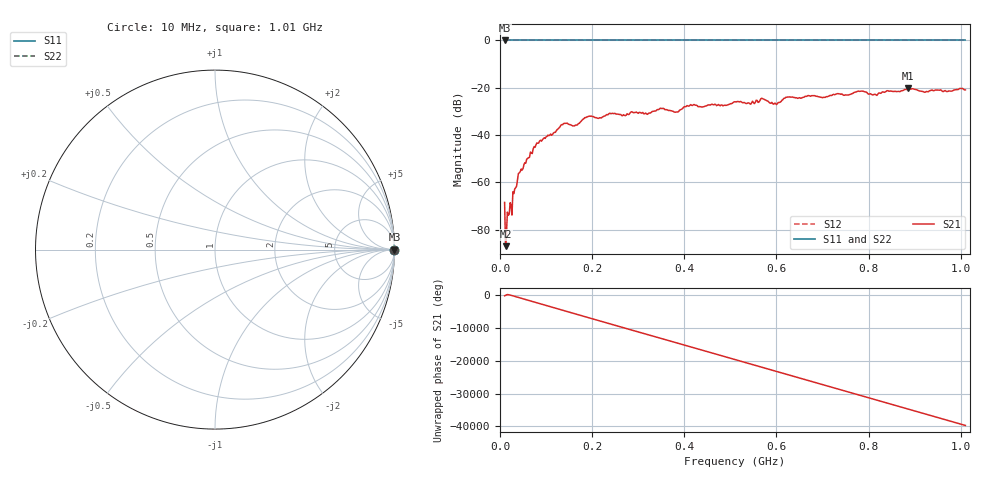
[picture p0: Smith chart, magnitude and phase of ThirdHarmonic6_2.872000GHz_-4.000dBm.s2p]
! 8/17/2025 7:51:04 AM
! C:\ANRITSUVNA\TEMP\TEMP.S2P
! CHANNEL.1
! TR.MEASUREMENT
! RAW.DATA
! RF.CORRECTION.OFF
! AVERAGING.OFF
! IF.BANDWIDTH: 5KHZ
! SWEEPTYPE:  FREQ.SWEEP(Linear)
! Reference Plane Port Info
! PORT:  PORT1  PORT2
! DISTANCE:  0  m  0  m
! TIME:  0  s  0  s
! PHASE.OFFSET:  0  deg.  0  deg.
! LOSS:  0  dB  0  dB
! REF.LOSS:  0  dB  0  dB
! REF.FREQ:  0  Hz  0  Hz
! Power Info
! POWER:  -20  dBm  -20  dBm
! EFF.POWER:  -20  dBm  -20  dBm
! SOURCE.ATTEN:  0  dB  0  dB
! TEST.ATTEN:  0  dB  0  dB
# GHZ S RI R 50.0
! FREQ.GHZ  S11RE  S11IM  S21RE  S21IM  S12RE  S12IM  S22RE  S22IM
!; PortSelection: Port_12
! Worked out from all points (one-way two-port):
!   501 points, 10 MHz to 1.01 GHz, reference 50 ohm
!   highest |S21| = -20.23 dB at 886 MHz (marker M1); lowest = -87.0 dB at 12 MHz (marker M2)
!   lowest |S11| = 0.0 dB at 10 MHz (marker M3)
!   |S11| at or under -10 dB: nowhere
!   |S22| runs from 0.0 to 0.0 dB; largest |S21 - S12| = 1.1
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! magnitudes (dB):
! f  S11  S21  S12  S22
! 10 MHz  0.0  -68.5  0.0  0.0
! 12 MHz  0.0  -87.0  0.0  0.0
! 16 MHz  0.0  -72.6  0.0  0.0
! 20 MHz  0.0  -73.5  0.0  0.0
! 22 MHz  0.0  -68.6  0.0  0.0
! 42 MHz  0.0  -56.0  0.0  0.0
! 76 MHz  0.0  -45.2  0.0  0.0
! 136 MHz  0.0  -35.6  0.0  0.0
! 162 MHz  0.0  -36.1  0.0  0.0
! 178 MHz  0.0  -33.7  0.0  0.0
! 344 MHz  0.0  -29.3  0.0  0.0
! 382 MHz  0.0  -30.3  0.0  0.0
! 410 MHz  0.0  -27.8  0.0  0.0
! 510 MHz  0.0  -25.9  0.0  0.0
! 542 MHz  0.0  -26.7  0.0  0.0
! 570 MHz  0.0  -24.6  0.0  0.0
! 598 MHz  0.0  -26.6  0.0  0.0
! 624 MHz  0.0  -23.9  0.0  0.0
! 678 MHz  0.0  -23.4  0.0  0.0
! 844 MHz  0.0  -21.5  0.0  0.0
! 886 MHz  0.0  -20.2  0.0  0.0
! 1.01 GHz  0.0  -20.9  0.0  0.0
